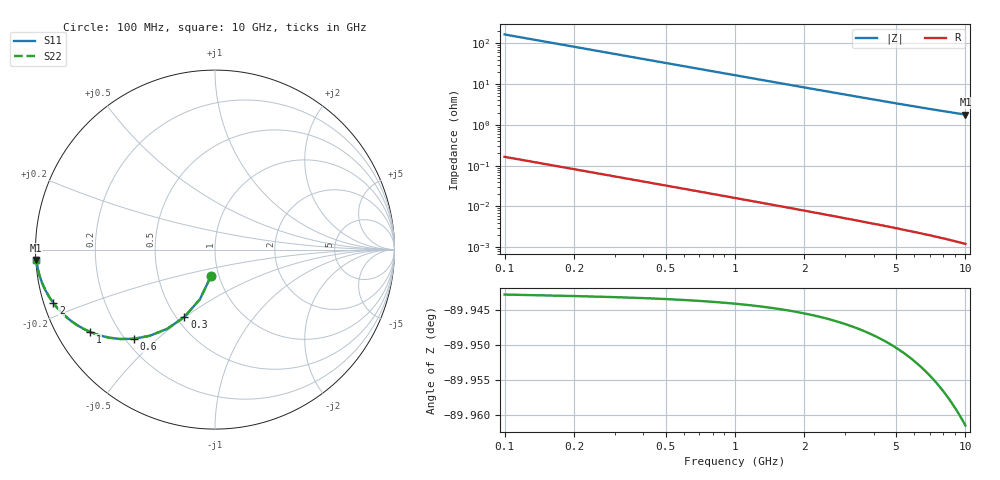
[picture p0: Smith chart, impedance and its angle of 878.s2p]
# Hz S RI R 50.00
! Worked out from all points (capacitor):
!   100 points, 100 MHz to 10 GHz, reference 50 ohm
!   read as one part in shunt: C = 9.62 pF near 100 MHz
!   lowest |Z| = 1.8 ohm at 10 GHz (marker M1)
!   S11 on the Smith chart (normalised r, x): 100 MHz: 0.92, -0.28; 300 MHz: 0.55, -0.50; 600 MHz: 0.23, -0.42; 1 GHz: 0.10, -0.30; 2 GHz: 0.03, -0.16; 10 GHz: 0.00, -0.03
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1e8  -0.0225 -0.1477  0.9775 -0.1478  0.9775 -0.1478  -0.0225 -0.1477
2e8  -0.084 -0.2767  0.916 -0.277  0.916 -0.277  -0.084 -0.2767
3e8  -0.1708 -0.3756  0.8292 -0.3761  0.8292 -0.3761  -0.1708 -0.3756
4e8  -0.2679 -0.4421  0.7321 -0.4426  0.7321 -0.4426  -0.2679 -0.4421
5e8  -0.3636 -0.4802  0.6363 -0.4809  0.6363 -0.4809  -0.3636 -0.4802
6e8  -0.4513 -0.4967  0.5487 -0.4975  0.5487 -0.4975  -0.4513 -0.4967
7e8  -0.5281 -0.4982  0.4719 -0.4992  0.4719 -0.4992  -0.5281 -0.4982
8e8  -0.5936 -0.4901  0.4063 -0.4912  0.4063 -0.4912  -0.5936 -0.4901
9e8  -0.6489 -0.4762  0.3511 -0.4774  0.3511 -0.4774  -0.6489 -0.4762
1e9  -0.6952 -0.4591  0.3048 -0.4605  0.3048 -0.4605  -0.6952 -0.4591
1.1e9  -0.734 -0.4406  0.266 -0.4421  0.266 -0.4421  -0.734 -0.4406
1.3e9  -0.7938 -0.4031  0.2061 -0.4049  0.2061 -0.4049  -0.7938 -0.4031
1.5e9  -0.8367 -0.3681  0.1633 -0.3701  0.1633 -0.3701  -0.8367 -0.3681
1.8e9  -0.8805 -0.3226  0.1194 -0.325  0.1194 -0.325  -0.8805 -0.3226
2e9  -0.901 -0.2968  0.099 -0.2995  0.099 -0.2995  -0.901 -0.2968
2.7e9  -0.943 -0.2294  0.0569 -0.2331  0.0569 -0.2331  -0.943 -0.2294
3.4e9  -0.9633 -0.1852  0.0367 -0.1898  0.0367 -0.1898  -0.9633 -0.1852
4.2e9  -0.9756 -0.1507  0.0243 -0.1565  0.0243 -0.1565  -0.9756 -0.1507
5.1e9  -0.9833 -0.1237  0.0166 -0.1308  0.0166 -0.1308  -0.9833 -0.1237
6.7e9  -0.9903 -0.0924  0.00959 -0.1018  0.00959 -0.1018  -0.9903 -0.0924
8.4e9  -0.9939 -0.0712  0.00602 -0.0832  0.00602 -0.0832  -0.9939 -0.0712
1e10  -0.9957 -0.0571  0.00415 -0.0716  0.00415 -0.0716  -0.9957 -0.0571
